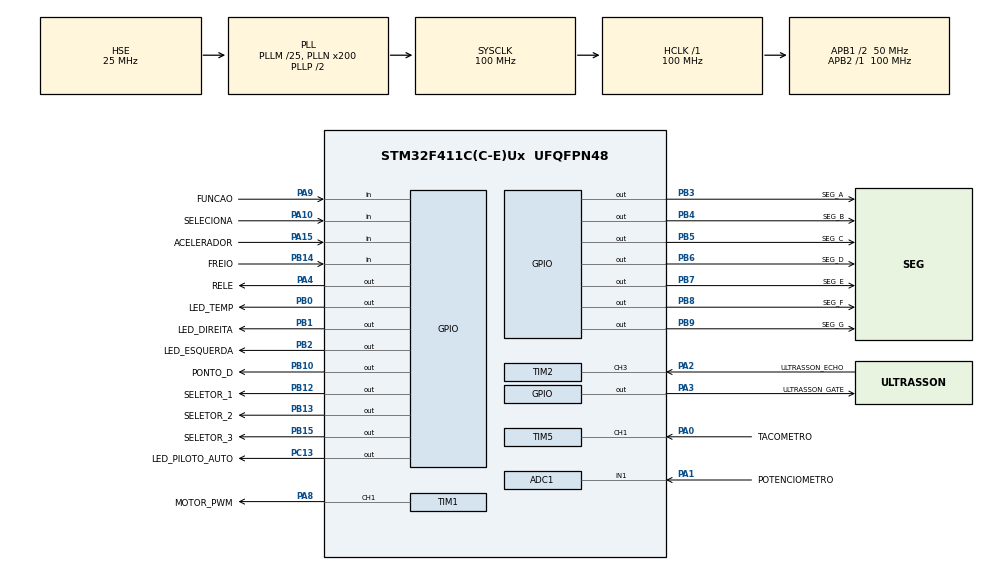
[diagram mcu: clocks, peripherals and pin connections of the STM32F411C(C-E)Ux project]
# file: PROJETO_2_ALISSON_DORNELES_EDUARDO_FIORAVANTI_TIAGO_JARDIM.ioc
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ADC1.Channel-0\#ChannelRegularConversion=ADC_CHANNEL_1
ADC1.Channel-3\#ChannelRegularConversion=ADC_CHANNEL_TEMPSENSOR
ADC1.ContinuousConvMode=ENABLE
ADC1.DMAContinuousRequests=ENABLE
ADC1.ExternalTrigConv=ADC_SOFTWARE_START
ADC1.InjNumberOfConversion=0
ADC1.NbrOfConversion=2
ADC1.NbrOfConversionFlag=1
ADC1.Rank-0\#ChannelRegularConversion=1
ADC1.Rank-3\#ChannelRegularConversion=2
ADC1.SamplingTime-0\#ChannelRegularConversion=ADC_SAMPLETIME_84CYCLES
ADC1.SamplingTime-3\#ChannelRegularConversion=ADC_SAMPLETIME_480CYCLES
ADC1.ScanConvMode=ENABLE
ADC1.master=1
Dma.ADC1.0.Direction=DMA_PERIPH_TO_MEMORY
Dma.ADC1.0.FIFOMode=DMA_FIFOMODE_DISABLE
Dma.ADC1.0.Instance=DMA2_Stream0
Dma.ADC1.0.MemDataAlignment=DMA_MDATAALIGN_HALFWORD
Dma.ADC1.0.MemInc=DMA_MINC_ENABLE
Dma.ADC1.0.Mode=DMA_CIRCULAR
Dma.ADC1.0.PeriphDataAlignment=DMA_PDATAALIGN_HALFWORD
Dma.ADC1.0.PeriphInc=DMA_PINC_DISABLE
Dma.ADC1.0.Priority=DMA_PRIORITY_LOW
Dma.Request0=ADC1
Mcu.Family=STM32F4
Mcu.Name=STM32F411C(C-E)Ux
Mcu.Package=UFQFPN48
NVIC.DMA2_Stream0_IRQn=true\:0\:0\:false\:false\:true\:false\:true\:true
NVIC.PriorityGroup=NVIC_PRIORITYGROUP_4
NVIC.TIM1_TRG_COM_TIM11_IRQn=true\:0\:0\:false\:false\:true\:true\:true\:true
NVIC.TIM1_UP_TIM10_IRQn=true\:0\:0\:false\:false\:true\:true\:true\:true
NVIC.TIM5_IRQn=true\:0\:0\:false\:false\:true\:true\:true\:true
PA0-WKUP.GPIO_Label=TACOMETRO
PA0-WKUP.GPIO_ModeDefaultPP=GPIO_MODE_AF_PP
PA0-WKUP.GPIO_PuPd=GPIO_NOPULL
PA0-WKUP.GPIO_Speed=GPIO_SPEED_FREQ_LOW
PA0-WKUP.Signal=S_TIM5_CH1
PA1.GPIO_Label=POTENCIOMETRO
PA1.Signal=ADCx_IN1
PA10.GPIO_Label=SELECIONA
PA10.GPIO_PuPd=GPIO_PULLUP
PA10.Signal=GPIO_Input
PA13.Mode=Serial_Wire
PA13.Signal=SYS_JTMS-SWDIO
PA14.Mode=Serial_Wire
PA14.Signal=SYS_JTCK-SWCLK
PA15.GPIO_Label=ACELERADOR
PA15.GPIO_PuPd=GPIO_PULLUP
PA15.Signal=GPIO_Input
PA2.GPIO_Label=ULTRASSON_ECHO
PA2.Signal=S_TIM2_CH3
PA3.GPIO_Label=ULTRASSON_GATE
PA3.Signal=GPIO_Output
PA4.GPIO_Label=RELE
PA4.Signal=GPIO_Output
PA8.GPIO_Label=MOTOR_PWM
PA8.GPIO_ModeDefaultPP=GPIO_MODE_AF_OD
PA8.GPIO_Speed=GPIO_SPEED_FREQ_VERY_HIGH
PA8.Signal=S_TIM1_CH1
PA9.GPIO_Label=FUNCAO
PA9.GPIO_PuPd=GPIO_PULLUP
PA9.Signal=GPIO_Input
PB0.GPIO_Label=LED_TEMP
PB0.Signal=GPIO_Output
PB1.GPIO_Label=LED_DIREITA
PB1.Signal=GPIO_Output
PB10.GPIO_Label=PONTO_D
PB10.Signal=GPIO_Output
PB12.GPIO_Label=SELETOR_1
PB12.Signal=GPIO_Output
PB13.GPIO_Label=SELETOR_2
PB13.Signal=GPIO_Output
PB14.GPIO_Label=FREIO
PB14.GPIO_PuPd=GPIO_PULLUP
PB14.Signal=GPIO_Input
PB15.GPIO_Label=SELETOR_3
PB15.Signal=GPIO_Output
PB2.GPIO_Label=LED_ESQUERDA
PB2.Signal=GPIO_Output
PB3.GPIO_Label=SEG_A
PB3.Signal=GPIO_Output
PB4.GPIO_Label=SEG_B
PB4.Signal=GPIO_Output
PB5.GPIO_Label=SEG_C
PB5.Signal=GPIO_Output
PB6.GPIO_Label=SEG_D
PB6.Signal=GPIO_Output
PB7.GPIO_Label=SEG_E
PB7.Signal=GPIO_Output
PB8.GPIO_Label=SEG_F
PB8.Signal=GPIO_Output
PB9.GPIO_Label=SEG_G
PB9.Signal=GPIO_Output
PC13-ANTI_TAMP.GPIO_Label=LED_PILOTO_AUTO
PC13-ANTI_TAMP.Signal=GPIO_Output
PH0\ -\ OSC_IN.Mode=HSE-External-Oscillator
PH0\ -\ OSC_IN.Signal=RCC_OSC_IN
PH1\ -\ OSC_OUT.Mode=HSE-External-Oscillator
PH1\ -\ OSC_OUT.Signal=RCC_OSC_OUT
ProjectManager.HeapSize=0x200
ProjectManager.StackSize=0x400
ProjectManager.TargetToolchain=STM32CubeIDE
RCC.48MHZClocksFreq_Value=50000000
RCC.AHBFreq_Value=100000000
RCC.APB1CLKDivider=RCC_HCLK_DIV2
RCC.APB1Freq_Value=50000000
RCC.APB1TimFreq_Value=100000000
RCC.APB2Freq_Value=100000000
RCC.APB2TimFreq_Value=100000000
RCC.CortexFreq_Value=100000000
RCC.HCLKFreq_Value=100000000
RCC.HSE_VALUE=25000000
RCC.HSI_VALUE=16000000
RCC.LSE_VALUE=32768
RCC.PLLM=25
RCC.PLLN=200
RCC.PLLSourceVirtual=RCC_PLLSOURCE_HSE
RCC.SYSCLKFreq_VALUE=100000000
RCC.SYSCLKSource=RCC_SYSCLKSOURCE_PLLCLK
RCC.VCOOutputFreq_Value=200000000
SH.ADCx_IN1.0=ADC1_IN1,IN1
SH.S_TIM1_CH1.0=TIM1_CH1,PWM Generation1 CH1
SH.S_TIM2_CH3.0=TIM2_CH3,Input_Capture3_from_TI3
SH.S_TIM5_CH1.0=TIM5_CH1,Input_Capture1_from_TI1
TIM1.Channel-PWM\ Generation1\ CH1=TIM_CHANNEL_1
TIM1.Period=3999
TIM10.Period=49999
TIM10.Prescaler=99
TIM11.Period=4999
TIM11.Prescaler=99
TIM2.Channel-Input_Capture3_from_TI3=TIM_CHANNEL_3
TIM3.Prescaler=99
TIM5.Channel-Input_Capture1_from_TI1=TIM_CHANNEL_1
TIM5.Prescaler=99
VP_ADC1_TempSens_Input.Mode=IN-TempSens
VP_TIM10_VS_ClockSourceINT.Mode=Enable_Timer
VP_TIM11_VS_ClockSourceINT.Mode=Enable_Timer
VP_TIM1_VS_ClockSourceINT.Mode=Internal
VP_TIM3_VS_ClockSourceINT.Mode=Internal
board=custom

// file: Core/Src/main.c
/* USER CODE BEGIN Header */
/**
  ******************************************************************************
  * @file           : main.c
  * @brief          : Main program body
  ******************************************************************************
  * @attention
  *
  * Copyright (c) 2026 STMicroelectronics.
  * All rights reserved.
  *
  * This software is licensed under terms that can be found in the LICENSE file
  * in the root directory of this software component.
  * If no LICENSE file comes with this software, it is provided AS-IS.
  *
  ******************************************************************************
  */
/* USER CODE END Header */
#include "main.h"

/* USER CODE BEGIN Includes */

#include "tracao.h"
#include "maquina_estados.h"
#include "central_dados.h"
#include <stdbool.h>

/* USER CODE END Includes */

ADC_HandleTypeDef hadc1;
DMA_HandleTypeDef hdma_adc1;

TIM_HandleTypeDef htim1;
TIM_HandleTypeDef htim2;
TIM_HandleTypeDef htim3;
TIM_HandleTypeDef htim5;
TIM_HandleTypeDef htim10;
TIM_HandleTypeDef htim11;

/* USER CODE BEGIN PV */
// variaveis para o tacometro
uint32_t captura_anterior = 0;
uint32_t captura_atual = 0;
uint32_t diferenca_tempo = 0;
uint32_t frequencia_hz = 0;
/* USER CODE END PV */

void SystemClock_Config(void);
static void MX_GPIO_Init(void);
static void MX_DMA_Init(void);
static void MX_ADC1_Init(void);
static void MX_TIM1_Init(void);
static void MX_TIM2_Init(void);
static void MX_TIM5_Init(void);
static void MX_TIM10_Init(void);
static void MX_TIM3_Init(void);
static void MX_TIM11_Init(void);

int main(void)
{

  /* MCU Configuration--------------------------------------------------------*/

  /* Reset of all peripherals, Initializes the Flash interface and the Systick. */
  HAL_Init();

  /* Configure the system clock */
  SystemClock_Config();

  /* Initialize all configured peripherals */
  MX_GPIO_Init();
  MX_DMA_Init();
  MX_ADC1_Init();
  MX_TIM1_Init();
  MX_TIM2_Init();
  MX_TIM5_Init();
  MX_TIM10_Init();
  MX_TIM3_Init();
  MX_TIM11_Init();
  /* USER CODE BEGIN 2 */
  HAL_TIM_PWM_Start(&htim1, TIM_CHANNEL_1);
    Inicializar_Tracao();
    Inicializar_Maquina_Estados();

    HAL_GPIO_WritePin(GPIOB, LED_TEMP_Pin|LED_DIREITA_Pin|LED_ESQUERDA_Pin, GPIO_PIN_RESET);

    HAL_GPIO_WritePin(GPIOA, RELE_Pin, GPIO_PIN_SET);
    HAL_GPIO_WritePin(LED_PILOTO_AUTO_GPIO_Port, LED_PILOTO_AUTO_Pin, GPIO_PIN_SET);

  HAL_TIM_Base_Start_IT(&htim10); // Relógio 50ms
  HAL_TIM_Base_Start_IT(&htim11); // Relógio 5ms (Display)
  HAL_TIM_Base_Start(&htim3);     // Relógio ultrason

  // Liga a esteira do DMA para ler Sensores Analógicos
  HAL_ADC_Start_DMA(&hadc1, (uint32_t*)adc_dma_buffer, 2);
  /* USER CODE END 2 */

  /* Infinite loop */
  while (1)
  {

    /* USER CODE BEGIN 3 */
    if (flag_tick_50ms)
      {
          flag_tick_50ms = 0;
          Atualizar_Maquina_Estados();
      }
  }
  /* USER CODE END 3 */
}

void SystemClock_Config(void)
{
  RCC_OscInitTypeDef RCC_OscInitStruct = {0};
  RCC_ClkInitTypeDef RCC_ClkInitStruct = {0};

  /** Configure the main internal regulator output voltage
  */
  __HAL_RCC_PWR_CLK_ENABLE();
  __HAL_PWR_VOLTAGESCALING_CONFIG(PWR_REGULATOR_VOLTAGE_SCALE1);

  /** Initializes the RCC Oscillators according to the specified parameters
  * in the RCC_OscInitTypeDef structure.
  */
  RCC_OscInitStruct.OscillatorType = RCC_OSCILLATORTYPE_HSE;
  RCC_OscInitStruct.HSEState = RCC_HSE_ON;
  RCC_OscInitStruct.PLL.PLLState = RCC_PLL_ON;
  RCC_OscInitStruct.PLL.PLLSource = RCC_PLLSOURCE_HSE;
  RCC_OscInitStruct.PLL.PLLM = 25;
  RCC_OscInitStruct.PLL.PLLN = 200;
  RCC_OscInitStruct.PLL.PLLP = RCC_PLLP_DIV2;
  RCC_OscInitStruct.PLL.PLLQ = 4;
  if (HAL_RCC_OscConfig(&RCC_OscInitStruct) != HAL_OK)
  {
    Error_Handler();
  }

  /** Initializes the CPU, AHB and APB buses clocks
  */
  RCC_ClkInitStruct.ClockType = RCC_CLOCKTYPE_HCLK|RCC_CLOCKTYPE_SYSCLK
                              |RCC_CLOCKTYPE_PCLK1|RCC_CLOCKTYPE_PCLK2;
  RCC_ClkInitStruct.SYSCLKSource = RCC_SYSCLKSOURCE_PLLCLK;
  RCC_ClkInitStruct.AHBCLKDivider = RCC_SYSCLK_DIV1;
  RCC_ClkInitStruct.APB1CLKDivider = RCC_HCLK_DIV2;
  RCC_ClkInitStruct.APB2CLKDivider = RCC_HCLK_DIV1;

  if (HAL_RCC_ClockConfig(&RCC_ClkInitStruct, FLASH_LATENCY_3) != HAL_OK)
  {
    Error_Handler();
  }
}

static void MX_ADC1_Init(void)
{

  ADC_ChannelConfTypeDef sConfig = {0};

  /** Configure the global features of the ADC (Clock, Resolution, Data Alignment and number of conversion)
  */
  hadc1.Instance = ADC1;
  hadc1.Init.ClockPrescaler = ADC_CLOCK_SYNC_PCLK_DIV4;
  hadc1.Init.Resolution = ADC_RESOLUTION_12B;
  hadc1.Init.ScanConvMode = ENABLE;
  hadc1.Init.ContinuousConvMode = ENABLE;
  hadc1.Init.DiscontinuousConvMode = DISABLE;
  hadc1.Init.ExternalTrigConvEdge = ADC_EXTERNALTRIGCONVEDGE_NONE;
  hadc1.Init.ExternalTrigConv = ADC_SOFTWARE_START;
  hadc1.Init.DataAlign = ADC_DATAALIGN_RIGHT;
  hadc1.Init.NbrOfConversion = 2;
  hadc1.Init.DMAContinuousRequests = ENABLE;
  hadc1.Init.EOCSelection = ADC_EOC_SINGLE_CONV;
  if (HAL_ADC_Init(&hadc1) != HAL_OK)
  {
    Error_Handler();
  }

  /** Configure for the selected ADC regular channel its corresponding rank in the sequencer and its sample time.
  */
  sConfig.Channel = ADC_CHANNEL_1;
  sConfig.Rank = 1;
  sConfig.SamplingTime = ADC_SAMPLETIME_84CYCLES;
  if (HAL_ADC_ConfigChannel(&hadc1, &sConfig) != HAL_OK)
  {
    Error_Handler();
  }

  /** Configure for the selected ADC regular channel its corresponding rank in the sequencer and its sample time.
  */
  sConfig.Channel = ADC_CHANNEL_TEMPSENSOR;
  sConfig.Rank = 2;
  sConfig.SamplingTime = ADC_SAMPLETIME_480CYCLES;
  if (HAL_ADC_ConfigChannel(&hadc1, &sConfig) != HAL_OK)
  {
    Error_Handler();
  }

}

static void MX_TIM1_Init(void)
{

  TIM_ClockConfigTypeDef sClockSourceConfig = {0};
  TIM_MasterConfigTypeDef sMasterConfig = {0};
  TIM_OC_InitTypeDef sConfigOC = {0};
  TIM_BreakDeadTimeConfigTypeDef sBreakDeadTimeConfig = {0};

  htim1.Instance = TIM1;
  htim1.Init.Prescaler = 0;
  htim1.Init.CounterMode = TIM_COUNTERMODE_UP;
  htim1.Init.Period = 3999;
  htim1.Init.ClockDivision = TIM_CLOCKDIVISION_DIV1;
  htim1.Init.RepetitionCounter = 0;
  htim1.Init.AutoReloadPreload = TIM_AUTORELOAD_PRELOAD_DISABLE;
  if (HAL_TIM_Base_Init(&htim1) != HAL_OK)
  {
    Error_Handler();
  }
  sClockSourceConfig.ClockSource = TIM_CLOCKSOURCE_INTERNAL;
  if (HAL_TIM_ConfigClockSource(&htim1, &sClockSourceConfig) != HAL_OK)
  {
    Error_Handler();
  }
  if (HAL_TIM_PWM_Init(&htim1) != HAL_OK)
  {
    Error_Handler();
  }
  sMasterConfig.MasterOutputTrigger = TIM_TRGO_RESET;
  sMasterConfig.MasterSlaveMode = TIM_MASTERSLAVEMODE_DISABLE;
  if (HAL_TIMEx_MasterConfigSynchronization(&htim1, &sMasterConfig) != HAL_OK)
  {
    Error_Handler();
  }
  sConfigOC.OCMode = TIM_OCMODE_PWM1;
  sConfigOC.Pulse = 0;
  sConfigOC.OCPolarity = TIM_OCPOLARITY_HIGH;
  sConfigOC.OCNPolarity = TIM_OCNPOLARITY_HIGH;
  sConfigOC.OCFastMode = TIM_OCFAST_DISABLE;
  sConfigOC.OCIdleState = TIM_OCIDLESTATE_RESET;
  sConfigOC.OCNIdleState = TIM_OCNIDLESTATE_RESET;
  if (HAL_TIM_PWM_ConfigChannel(&htim1, &sConfigOC, TIM_CHANNEL_1) != HAL_OK)
  {
    Error_Handler();
  }
  sBreakDeadTimeConfig.OffStateRunMode = TIM_OSSR_DISABLE;
  sBreakDeadTimeConfig.OffStateIDLEMode = TIM_OSSI_DISABLE;
  sBreakDeadTimeConfig.LockLevel = TIM_LOCKLEVEL_OFF;
  sBreakDeadTimeConfig.DeadTime = 0;
  sBreakDeadTimeConfig.BreakState = TIM_BREAK_DISABLE;
  sBreakDeadTimeConfig.BreakPolarity = TIM_BREAKPOLARITY_HIGH;
  sBreakDeadTimeConfig.AutomaticOutput = TIM_AUTOMATICOUTPUT_DISABLE;
  if (HAL_TIMEx_ConfigBreakDeadTime(&htim1, &sBreakDeadTimeConfig) != HAL_OK)
  {
    Error_Handler();
  }
  HAL_TIM_MspPostInit(&htim1);

}

static void MX_TIM2_Init(void)
{

  TIM_MasterConfigTypeDef sMasterConfig = {0};
  TIM_IC_InitTypeDef sConfigIC = {0};

  htim2.Instance = TIM2;
  htim2.Init.Prescaler = 0;
  htim2.Init.CounterMode = TIM_COUNTERMODE_UP;
  htim2.Init.Period = 4294967295;
  htim2.Init.ClockDivision = TIM_CLOCKDIVISION_DIV1;
  htim2.Init.AutoReloadPreload = TIM_AUTORELOAD_PRELOAD_DISABLE;
  if (HAL_TIM_IC_Init(&htim2) != HAL_OK)
  {
    Error_Handler();
  }
  sMasterConfig.MasterOutputTrigger = TIM_TRGO_RESET;
  sMasterConfig.MasterSlaveMode = TIM_MASTERSLAVEMODE_DISABLE;
  if (HAL_TIMEx_MasterConfigSynchronization(&htim2, &sMasterConfig) != HAL_OK)
  {
    Error_Handler();
  }
  sConfigIC.ICPolarity = TIM_INPUTCHANNELPOLARITY_RISING;
  sConfigIC.ICSelection = TIM_ICSELECTION_DIRECTTI;
  sConfigIC.ICPrescaler = TIM_ICPSC_DIV1;
  sConfigIC.ICFilter = 0;
  if (HAL_TIM_IC_ConfigChannel(&htim2, &sConfigIC, TIM_CHANNEL_3) != HAL_OK)
  {
    Error_Handler();
  }

}

static void MX_TIM3_Init(void)
{

  TIM_ClockConfigTypeDef sClockSourceConfig = {0};
  TIM_MasterConfigTypeDef sMasterConfig = {0};

  htim3.Instance = TIM3;
  htim3.Init.Prescaler = 99;
  htim3.Init.CounterMode = TIM_COUNTERMODE_UP;
  htim3.Init.Period = 65535;
  htim3.Init.ClockDivision = TIM_CLOCKDIVISION_DIV1;
  htim3.Init.AutoReloadPreload = TIM_AUTORELOAD_PRELOAD_DISABLE;
  if (HAL_TIM_Base_Init(&htim3) != HAL_OK)
  {
    Error_Handler();
  }
  sClockSourceConfig.ClockSource = TIM_CLOCKSOURCE_INTERNAL;
  if (HAL_TIM_ConfigClockSource(&htim3, &sClockSourceConfig) != HAL_OK)
  {
    Error_Handler();
  }
  sMasterConfig.MasterOutputTrigger = TIM_TRGO_RESET;
  sMasterConfig.MasterSlaveMode = TIM_MASTERSLAVEMODE_DISABLE;
  if (HAL_TIMEx_MasterConfigSynchronization(&htim3, &sMasterConfig) != HAL_OK)
  {
    Error_Handler();
  }

}

static void MX_TIM5_Init(void)
{

  TIM_MasterConfigTypeDef sMasterConfig = {0};
  TIM_IC_InitTypeDef sConfigIC = {0};

  htim5.Instance = TIM5;
  htim5.Init.Prescaler = 99;
  htim5.Init.CounterMode = TIM_COUNTERMODE_UP;
  htim5.Init.Period = 4294967295;
  htim5.Init.ClockDivision = TIM_CLOCKDIVISION_DIV1;
  htim5.Init.AutoReloadPreload = TIM_AUTORELOAD_PRELOAD_DISABLE;
  if (HAL_TIM_IC_Init(&htim5) != HAL_OK)
  {
    Error_Handler();
  }
  sMasterConfig.MasterOutputTrigger = TIM_TRGO_RESET;
  sMasterConfig.MasterSlaveMode = TIM_MASTERSLAVEMODE_DISABLE;
  if (HAL_TIMEx_MasterConfigSynchronization(&htim5, &sMasterConfig) != HAL_OK)
  {
    Error_Handler();
  }
  sConfigIC.ICPolarity = TIM_INPUTCHANNELPOLARITY_RISING;
  sConfigIC.ICSelection = TIM_ICSELECTION_DIRECTTI;
  sConfigIC.ICPrescaler = TIM_ICPSC_DIV1;
  sConfigIC.ICFilter = 0;
  if (HAL_TIM_IC_ConfigChannel(&htim5, &sConfigIC, TIM_CHANNEL_1) != HAL_OK)
  {
    Error_Handler();
  }

}

static void MX_TIM10_Init(void)
{

  htim10.Instance = TIM10;
  htim10.Init.Prescaler = 99;
  htim10.Init.CounterMode = TIM_COUNTERMODE_UP;
  htim10.Init.Period = 49999;
  htim10.Init.ClockDivision = TIM_CLOCKDIVISION_DIV1;
  htim10.Init.AutoReloadPreload = TIM_AUTORELOAD_PRELOAD_DISABLE;
  if (HAL_TIM_Base_Init(&htim10) != HAL_OK)
  {
    Error_Handler();
  }

}

static void MX_TIM11_Init(void)
{

  htim11.Instance = TIM11;
  htim11.Init.Prescaler = 99;
  htim11.Init.CounterMode = TIM_COUNTERMODE_UP;
  htim11.Init.Period = 4999;
  htim11.Init.ClockDivision = TIM_CLOCKDIVISION_DIV1;
  htim11.Init.AutoReloadPreload = TIM_AUTORELOAD_PRELOAD_DISABLE;
  if (HAL_TIM_Base_Init(&htim11) != HAL_OK)
  {
    Error_Handler();
  }

}

static void MX_DMA_Init(void)
{

  /* DMA controller clock enable */
  __HAL_RCC_DMA2_CLK_ENABLE();

  /* DMA interrupt init */
  /* DMA2_Stream0_IRQn interrupt configuration */
  HAL_NVIC_SetPriority(DMA2_Stream0_IRQn, 0, 0);
  HAL_NVIC_EnableIRQ(DMA2_Stream0_IRQn);

}

static void MX_GPIO_Init(void)
{
  GPIO_InitTypeDef GPIO_InitStruct = {0};

  /* GPIO Ports Clock Enable */
  __HAL_RCC_GPIOC_CLK_ENABLE();
  __HAL_RCC_GPIOH_CLK_ENABLE();
  __HAL_RCC_GPIOA_CLK_ENABLE();
  __HAL_RCC_GPIOB_CLK_ENABLE();

  /*Configure GPIO pin Output Level */
  HAL_GPIO_WritePin(LED_PILOTO_AUTO_GPIO_Port, LED_PILOTO_AUTO_Pin, GPIO_PIN_RESET);

  /*Configure GPIO pin Output Level */
  HAL_GPIO_WritePin(GPIOA, ULTRASSON_GATE_Pin|RELE_Pin, GPIO_PIN_RESET);

  /*Configure GPIO pin Output Level */
  HAL_GPIO_WritePin(GPIOB, LED_TEMP_Pin|LED_DIREITA_Pin|LED_ESQUERDA_Pin|PONTO_D_Pin
                          |SELETOR_1_Pin|SELETOR_2_Pin|SELETOR_3_Pin|SEG_A_Pin
                          |SEG_B_Pin|SEG_C_Pin|SEG_D_Pin|SEG_E_Pin
                          |SEG_F_Pin|SEG_G_Pin, GPIO_PIN_RESET);

  /*Configure GPIO pin : LED_PILOTO_AUTO_Pin */
  GPIO_InitStruct.Pin = LED_PILOTO_AUTO_Pin;
  GPIO_InitStruct.Mode = GPIO_MODE_OUTPUT_PP;
  GPIO_InitStruct.Pull = GPIO_NOPULL;
  GPIO_InitStruct.Speed = GPIO_SPEED_FREQ_LOW;
  HAL_GPIO_Init(LED_PILOTO_AUTO_GPIO_Port, &GPIO_InitStruct);

  /*Configure GPIO pins : ULTRASSON_GATE_Pin RELE_Pin */
  GPIO_InitStruct.Pin = ULTRASSON_GATE_Pin|RELE_Pin;
  GPIO_InitStruct.Mode = GPIO_MODE_OUTPUT_PP;
  GPIO_InitStruct.Pull = GPIO_NOPULL;
  GPIO_InitStruct.Speed = GPIO_SPEED_FREQ_LOW;
  HAL_GPIO_Init(GPIOA, &GPIO_InitStruct);

  /*Configure GPIO pins : LED_TEMP_Pin LED_DIREITA_Pin LED_ESQUERDA_Pin PONTO_D_Pin
                           SELETOR_1_Pin SELETOR_2_Pin SELETOR_3_Pin SEG_A_Pin
                           SEG_B_Pin SEG_C_Pin SEG_D_Pin SEG_E_Pin
                           SEG_F_Pin SEG_G_Pin */
  GPIO_InitStruct.Pin = LED_TEMP_Pin|LED_DIREITA_Pin|LED_ESQUERDA_Pin|PONTO_D_Pin
                          |SELETOR_1_Pin|SELETOR_2_Pin|SELETOR_3_Pin|SEG_A_Pin
                          |SEG_B_Pin|SEG_C_Pin|SEG_D_Pin|SEG_E_Pin
                          |SEG_F_Pin|SEG_G_Pin;
  GPIO_InitStruct.Mode = GPIO_MODE_OUTPUT_PP;
  GPIO_InitStruct.Pull = GPIO_NOPULL;
  GPIO_InitStruct.Speed = GPIO_SPEED_FREQ_LOW;
  HAL_GPIO_Init(GPIOB, &GPIO_InitStruct);

  /*Configure GPIO pin : FREIO_Pin */
  GPIO_InitStruct.Pin = FREIO_Pin;
  GPIO_InitStruct.Mode = GPIO_MODE_INPUT;
  GPIO_InitStruct.Pull = GPIO_PULLUP;
  HAL_GPIO_Init(FREIO_GPIO_Port, &GPIO_InitStruct);

  /*Configure GPIO pins : FUNCAO_Pin SELECIONA_Pin ACELERADOR_Pin */
  GPIO_InitStruct.Pin = FUNCAO_Pin|SELECIONA_Pin|ACELERADOR_Pin;
  GPIO_InitStruct.Mode = GPIO_MODE_INPUT;
  GPIO_InitStruct.Pull = GPIO_PULLUP;
  HAL_GPIO_Init(GPIOA, &GPIO_InitStruct);

}

/* USER CODE BEGIN 4 */

void delay_us(uint16_t us)
{
    __HAL_TIM_SET_COUNTER(&htim3, 0);
    while (__HAL_TIM_GET_COUNTER(&htim3) < us);
}

void HAL_ADC_ConvCpltCallback(ADC_HandleTypeDef *hadc)
{
    if (hadc->Instance == ADC1) {
        potenciometro_adc   = adc_dma_buffer[0];
        temperatura_celsius = ((int32_t)adc_dma_buffer[1] * 3300 / 4096 - 760) / 25 + 25;
        temperatura_adc     = adc_dma_buffer[1];
    }
}

void HAL_TIM_IC_CaptureCallback(TIM_HandleTypeDef *htim)
{
    if (htim->Instance != TIM5) return;

    static uint32_t captura_anterior = 0;
    static uint8_t  primeira_captura = 1;

    uint32_t captura_atual = HAL_TIM_ReadCapturedValue(htim, TIM_CHANNEL_1);

    if (primeira_captura) {
        captura_anterior = captura_atual;
        primeira_captura = 0;
        return;
    }

    uint32_t periodo_us = captura_atual - captura_anterior;
    captura_anterior = captura_atual;

    if (periodo_us > 0 && periodo_us < 2000000) {
        rpm_motor      = 30000000UL / periodo_us;
        velocidade_kmh = (uint8_t)((rpm_motor * 2UL) / 33UL);
        if (velocidade_kmh > VELOCIDADE_MAXIMA_KMH)
            velocidade_kmh = VELOCIDADE_MAXIMA_KMH;
    } else {
        rpm_motor      = 0;
        velocidade_kmh = 0;
    }
}

void HAL_TIM_PeriodElapsedCallback(TIM_HandleTypeDef *htim)
{
    // A cada 5ms: Atualiza o Display (Multiplexação)
    if (htim->Instance == TIM11) {
        Display_Atualizar();
    }

    // A cada 50ms: Lógica de controle, FSM e Sensores
    if (htim->Instance == TIM10) {
        tick_base++;
        flag_tick_50ms = 1;

        // Lógica para alternar o modo com o botão Função (com debounce)
        static uint8_t botao_pressionado = 0;
        if (HAL_GPIO_ReadPin(FUNCAO_GPIO_Port, FUNCAO_Pin) == GPIO_PIN_RESET) {
            if (botao_pressionado == 0) {
                display_modo_atual++;
                if (display_modo_atual > DISPLAY_MODO_TEMPERATURA) {
                    display_modo_atual = DISPLAY_MODO_VELOCIDADE;
                }
                botao_pressionado = 1;
            }
        } else {
            botao_pressionado = 0;
        }

        // Lógica para enviar o dado correto ao driver
        switch(display_modo_atual) {
            case DISPLAY_MODO_VELOCIDADE:
                Display_SetModo(MODO_NUMERICO);
                Display_SetValor(velocidade_kmh);
                break;
            case DISPLAY_MODO_RPM:
                Display_SetModo(MODO_NUMERICO);
                Display_SetValor(rpm_motor / 3);
                break;
            case DISPLAY_MODO_ODOMETRO:
                Display_SetModo(MODO_NUMERICO);
                Display_SetValor((uint16_t)(hodometro_cm / 100));
                break;
            case DISPLAY_MODO_TEMPERATURA:
                Display_SetModo(MODO_NUMERICO);
                Display_SetValor((uint16_t)temperatura_celsius);
                break;
        }

        // Cálculo do hodômetro
        //hodometro_cm += (uint32_t)(velocidade_kmh * 5UL) / 360UL;
        hodometro_cm += ((uint32_t)velocidade_kmh * 100000UL) /72000UL; // calculo do hodometro v2

        uint8_t estado_agora = Obter_Estado_Atual();

        // Lógica de Seta (Direção)
        if (flags_sistema & FLAG_SETA_ESQ) {
            tick_seta++;
            if (tick_seta >= 10U) {
                tick_seta = 0;
                HAL_GPIO_TogglePin(LED_ESQUERDA_GPIO_Port, LED_ESQUERDA_Pin);
                HAL_GPIO_WritePin(LED_DIREITA_GPIO_Port, LED_DIREITA_Pin, GPIO_PIN_RESET);
            }
        }
        else if (flags_sistema & FLAG_SETA_DIR) {
            tick_seta++;
            if (tick_seta >= 10U) {
                tick_seta = 0;
                HAL_GPIO_TogglePin(LED_DIREITA_GPIO_Port, LED_DIREITA_Pin);
                HAL_GPIO_WritePin(LED_ESQUERDA_GPIO_Port, LED_ESQUERDA_Pin, GPIO_PIN_RESET);
            }
        }
        else {
            HAL_GPIO_WritePin(LED_DIREITA_GPIO_Port,  LED_DIREITA_Pin,  GPIO_PIN_RESET);
            HAL_GPIO_WritePin(LED_ESQUERDA_GPIO_Port, LED_ESQUERDA_Pin, GPIO_PIN_RESET);
            tick_seta = 0;
        }

        // Alerta de Temperatura
        if (temperatura_celsius >= TEMP_ALERTA_CRITICO) {
            HAL_GPIO_WritePin(LED_TEMP_GPIO_Port, LED_TEMP_Pin, GPIO_PIN_RESET);
        } else if (temperatura_celsius >= TEMP_ALERTA_AMARELO) {
            if ((tick_base % 20U) < 10U) {
                HAL_GPIO_WritePin(LED_TEMP_GPIO_Port, LED_TEMP_Pin, GPIO_PIN_RESET);
            } else {
                HAL_GPIO_WritePin(LED_TEMP_GPIO_Port, LED_TEMP_Pin, GPIO_PIN_SET);
            }
        } else {
            HAL_GPIO_WritePin(LED_TEMP_GPIO_Port, LED_TEMP_Pin, GPIO_PIN_SET);
        }

        // Piloto Automático
        if (flags_sistema & FLAG_AUTOMATICO_ATIVO) {
            HAL_GPIO_WritePin(LED_PILOTO_AUTO_GPIO_Port, LED_PILOTO_AUTO_Pin, GPIO_PIN_RESET);
        } else {
            HAL_GPIO_WritePin(LED_PILOTO_AUTO_GPIO_Port, LED_PILOTO_AUTO_Pin, GPIO_PIN_SET);
        }

        if (estado_agora == ESTADO_EMERGENCIA) {
            tick_emergencia++;
        }

        if (temperatura_celsius >= TEMP_ALERTA_CRITICO) {
            tick_temp_critica++;
        } else {
            tick_temp_critica = 0;
        }

        // Leitura de Pedais
        bool freio_pressionado = (HAL_GPIO_ReadPin(FREIO_GPIO_Port, FREIO_Pin) == GPIO_PIN_RESET);
        bool acel_pressionado  = (HAL_GPIO_ReadPin(ACELERADOR_GPIO_Port, ACELERADOR_Pin) == GPIO_PIN_RESET);

        if (freio_pressionado) {
            tick_freio++;
            tick_acelerador = 0;
            flags_sistema |=  FLAG_FREIO_PRESSIONADO;
            flags_sistema &= ~FLAG_ACELERADOR_PRESSIONADO;
        }
        else if (acel_pressionado) {
            tick_acelerador++;
            tick_freio = 0;
            flags_sistema |=  FLAG_ACELERADOR_PRESSIONADO;
            flags_sistema &= ~FLAG_FREIO_PRESSIONADO;
        }
        else {
            if (estado_agora == ESTADO_INERCIA) {
                tick_inercia++;
            }
            tick_freio = 0;
            flags_sistema &= ~(FLAG_FREIO_PRESSIONADO | FLAG_ACELERADOR_PRESSIONADO);
        }
    }
}
/* USER CODE END 4 */

void Error_Handler(void)
{
  __disable_irq();
  while (1)
  {
  }
}
